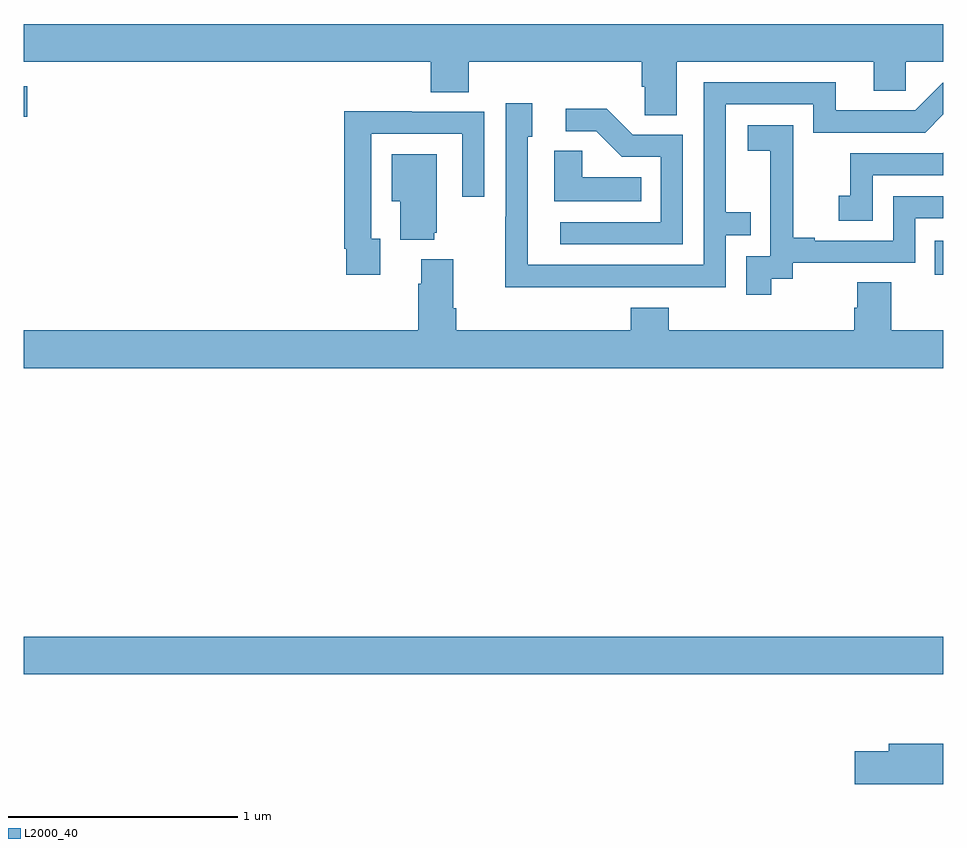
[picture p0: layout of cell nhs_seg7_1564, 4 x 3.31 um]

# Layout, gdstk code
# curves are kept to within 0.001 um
import gdstk
lib = gdstk.Library(unit=1e-6, precision=1e-09)
def R(c, l, rs):  # rectangles x0, y0, x1, y1
    for r in rs: c.add(gdstk.rectangle(r[:2], r[2:], *l))
def P(c, l, *ps):  # polygons
    for p in ps: c.add(gdstk.Polygon(p, *l))
L2000_40 = (2000, 40)

nhs_seg7_1564 = lib.new_cell('nhs_seg7_1564')
R(nhs_seg7_1564, L2000_40, [(217,1048.568,221,1048.732), (220.963,1050.306,221,1050.453), (217,1050.992,217.015,1051.126)])
P(nhs_seg7_1564, L2000_40, [(217,1051.232),(218.771,1051.232),(218.771,1051.099),(218.936,1051.099),(218.936,1051.232),(219.689,1051.232),(219.689,1051.123),(219.702,1051.123),(219.702,1051),(219.841,1051),(219.841,1051.232),(220.697,1051.232),(220.697,1051.105),(220.836,1051.105),(220.836,1051.232),(221,1051.232),(221,1051.396),(217,1051.396)],
  [(219.557,1050.252),(220.053,1050.252),(220.053,1050.477),(220.163,1050.477),(220.163,1050.578),(220.053,1050.578),(220.053,1051.047),(220.434,1051.047),(220.434,1050.924),(220.92,1050.924),(221,1051.004),(221,1051.14),(220.998,1051.14),(220.878,1051.02),(220.531,1051.02),(220.531,1051.143),(219.957,1051.143),(219.957,1050.348),(219.192,1050.348),(219.192,1050.906),(219.211,1050.906),(219.211,1051.051),(219.096,1051.051),(219.096,1050.557),(219.094,1050.557),(219.094,1050.251)],
  [(219.867,1050.915),(219.648,1050.915),(219.535,1051.028),(219.357,1051.028),(219.357,1050.93),(219.491,1050.93),(219.602,1050.819),(219.771,1050.819),(219.771,1050.534),(219.333,1050.534),(219.333,1050.438),(219.867,1050.438)],
  [(218.551,1050.462),(218.511,1050.462),(218.511,1050.918),(218.907,1050.918),(218.907,1050.645),(219.003,1050.645),(219.003,1051.014),(218.687,1051.014),(218.687,1051.016),(218.395,1051.016),(218.395,1050.418),(218.403,1050.418),(218.403,1050.306),(218.551,1050.306)],
  [(220.252,1050.289),(220.344,1050.289),(220.344,1050.357),(220.878,1050.357),(220.878,1050.552),(221,1050.552),(221,1050.648),(220.782,1050.648),(220.782,1050.453),(220.441,1050.453),(220.441,1050.466),(220.346,1050.466),(220.346,1050.749),(220.347,1050.749),(220.347,1050.955),(220.149,1050.955),(220.149,1050.845),(220.247,1050.845),(220.247,1050.617),(220.248,1050.617),(220.248,1050.387),(220.143,1050.387),(220.143,1050.219),(220.252,1050.219)],
  [(219.686,1050.73),(219.429,1050.73),(219.429,1050.845),(219.308,1050.845),(219.308,1050.626),(219.686,1050.626)],
  [(220.692,1050.738),(221,1050.738),(221,1050.837),(220.997,1050.834),(220.594,1050.834),(220.594,1050.649),(220.545,1050.649),(220.545,1050.54),(220.692,1050.54)],
  [(218.786,1050.489),(218.797,1050.489),(218.797,1050.829),(218.6,1050.829),(218.6,1050.626),(218.639,1050.626),(218.639,1050.458),(218.786,1050.458)],
  [(221,1050.064),(220.773,1050.064),(220.773,1050.272),(220.625,1050.272),(220.625,1050.162),(220.613,1050.162),(220.613,1050.064),(219.806,1050.064),(219.806,1050.163),(219.641,1050.163),(219.641,1050.064),(218.882,1050.064),(218.882,1050.16),(218.869,1050.16),(218.869,1050.373),(218.729,1050.373),(218.729,1050.266),(218.717,1050.266),(218.717,1050.064),(217,1050.064),(217,1049.9),(221,1049.9)],
  [(221,1048.267),(220.763,1048.267),(220.763,1048.233),(220.614,1048.233),(220.614,1048.091),(221,1048.091)])

lib.write_gds('nhs_seg7_1564.gds')
